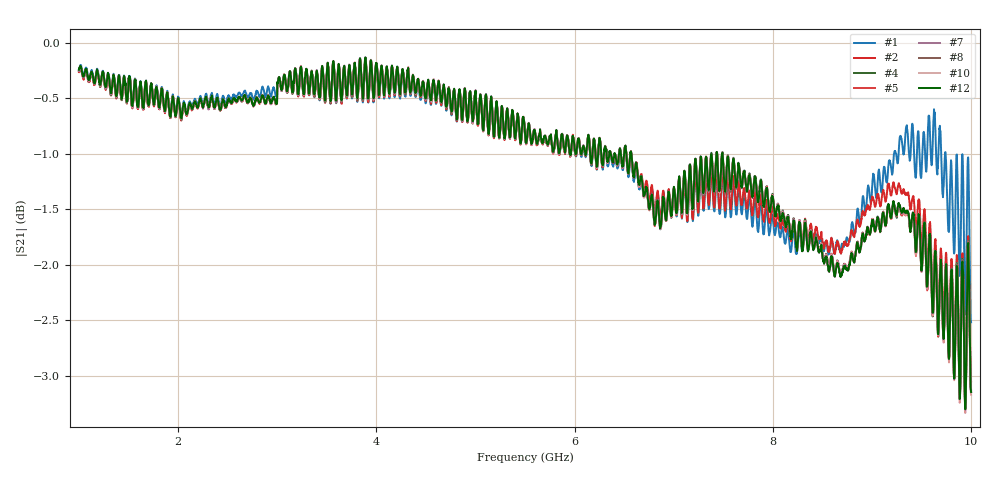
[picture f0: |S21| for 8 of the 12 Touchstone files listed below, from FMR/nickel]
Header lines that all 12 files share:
#  HZ  S  RI  R  50.0
! Rohde & Schwarz ZVL13 2Ports - Version 3.31 - 1303.6509k13 SN: 101088
! Data & Calibration Information:
! Trc4:S11(TOSM) Trc2:S21(TOSM) Trc3:S12(TOSM) Trc5:S22(TOSM)
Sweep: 1 GHz to 10 GHz
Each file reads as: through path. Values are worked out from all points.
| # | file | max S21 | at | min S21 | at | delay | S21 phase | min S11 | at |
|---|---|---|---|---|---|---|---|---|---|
| 1 | Nickel5_0mT.s2p | -0.16 dB | 3.892 GHz | -2.5 dB | 10 GHz | 363 ps | 4 deg at 5.501 GHz | -49.3 dB | 7.81 GHz |
| 2 | Nickel5_14mT.s2p | -0.16 dB | 3.892 GHz | -3.2 dB | 9.941 GHz | 365 ps | 3 deg at 5.501 GHz | -53.7 dB | 7.628 GHz |
| 3 | Nickel5_30mT.s2p | -0.15 dB | 3.89 GHz | -3.2 dB | 9.941 GHz | 365 ps | 2 deg at 5.501 GHz | -53.7 dB | 7.718 GHz |
| 4 | Nickel5_46mT.s2p | -0.14 dB | 3.892 GHz | -3.3 dB | 9.941 GHz | 365 ps | 2 deg at 5.501 GHz | -55.9 dB | 7.675 GHz |
| 5 | Nickel5_59mT.s2p | -0.15 dB | 3.89 GHz | -3.3 dB | 9.941 GHz | 365 ps | 2 deg at 5.501 GHz | -50.0 dB | 7.675 GHz |
| 6 | Nickel5_75mT.s2p | -0.14 dB | 3.892 GHz | -3.3 dB | 9.941 GHz | 365 ps | 2 deg at 5.501 GHz | -48.5 dB | 7.673 GHz |
| 7 | Nickel5_91mT.s2p | -0.14 dB | 3.892 GHz | -3.3 dB | 9.941 GHz | 365 ps | 2 deg at 5.501 GHz | -48.6 dB | 9.359 GHz |
| 8 | Nickel5_105mT.s2p | -0.13 dB | 3.892 GHz | -3.3 dB | 9.941 GHz | 365 ps | 2 deg at 5.501 GHz | -47.8 dB | 9.314 GHz |
| 9 | Nickel5_120mT.s2p | -0.13 dB | 3.892 GHz | -3.3 dB | 9.941 GHz | 365 ps | 2 deg at 5.501 GHz | -45.5 dB | 7.673 GHz |
| 10 | Nickel5_136mT.s2p | -0.13 dB | 3.892 GHz | -3.3 dB | 9.941 GHz | 365 ps | 2 deg at 5.501 GHz | -47.6 dB | 7.673 GHz |
| 11 | Nickel5_150mT.s2p | -0.13 dB | 3.89 GHz | -3.3 dB | 9.941 GHz | 365 ps | 2 deg at 5.501 GHz | -49.1 dB | 7.673 GHz |
| 12 | Nickel5_300mT.s2p | -0.13 dB | 3.89 GHz | -3.3 dB | 9.941 GHz | 365 ps | 2 deg at 5.501 GHz | -49.9 dB | 7.673 GHz |
